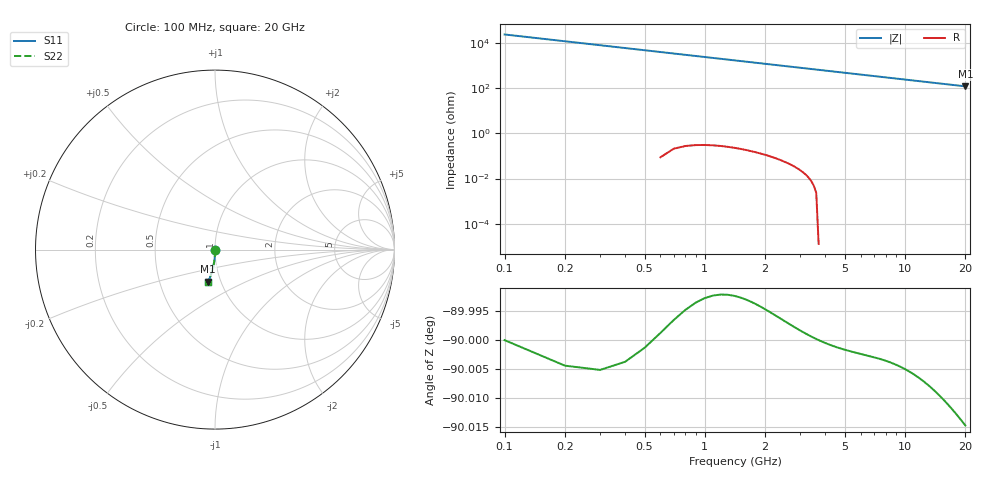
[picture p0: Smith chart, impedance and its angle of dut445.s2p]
! Touchstone file exported from HFSS 2026.1.0
!  File:  C:/ffzhzh/LocalFiles/Ansys_Project_Files/temp_train_TSV_445_1783021584_53980.aedt
!  Generated:  03:47:50 AM Jul  3, 2026
!  Design:  TSV
!  Project:  temp_train_TSV_445_1783021584_53980
! Variables:
!  h_bsmrdl = 2um
!  h_ox = 20um
!  h_rdl = 5um
!  h_sub = 73.95um
!  h_tmrdl = 5um
!  h_tsv = 73.95um
!  h_via = 3um
!  l_bsmrdl = 300um
!  l_sub = 425.78um
!  l_tmrdl = 200um
!  m_sub = 200um
!  pitch = 27.5um
!  r_tsv = 12.89um
!  s_tmrdl = 10um
!  w_bsmrdl = 18um
!  w_sub = 500um
!  w_tmrdl = 12um
!  x_tsv_center1 = 206um
!  x_tsv_center2 = 524um
!  x_tsv_center3 = 736um
!  x_tsv_center4 = 1054um
!  x_tsv_center5 = 1266um
!  x_tsv_center6 = 1584um
# GHz S MA R 50.000000
! Terminal data exported
! Port[1] = TSV1_1_T1
! Port[2] = TSV1_1_T2
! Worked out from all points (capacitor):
!   200 points, 100 MHz to 20 GHz, reference 50 ohm
!   read as one part in shunt: C = 65.2 fF near 200 MHz
!   lowest |Z| = 122 ohm at 20 GHz (marker M1)
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0.1  0.0008687 -83.1  0.9999 -0.1  0.9999 -0.1  0.0008687 -83.1
! Gamma 0 0 0 0
! Port Impedance 50 0 50 0
0.2  0.001737 -85.8  0.9999 -0.1  0.9999 -0.1  0.001737 -85.8
0.3  0.002619 -86.6  0.9998 -0.2  0.9998 -0.2  0.002619 -86.6
0.4  0.003515 -86.9  0.9998 -0.3  0.9998 -0.3  0.003515 -86.9
0.5  0.004422 -87.1  0.9997 -0.3  0.9997 -0.3  0.004422 -87.1
0.7  0.006258 -87.6  0.9997 -0.5  0.9997 -0.5  0.006258 -87.6
0.8  0.007182 -87.8  0.9996 -0.5  0.9996 -0.5  0.007182 -87.8
1  0.009036 -88.2  0.9996 -0.7  0.9996 -0.7  0.009036 -88.2
1.2  0.01089 -88.5  0.9995 -0.8  0.9995 -0.8  0.01089 -88.5
1.4  0.01275 -88.9  0.9995 -0.9  0.9995 -0.9  0.01275 -88.9
1.7  0.01553 -89.3  0.9994 -1.1  0.9994 -1.1  0.01553 -89.3
2  0.01832 -89.6  0.9993 -1.3  0.9993 -1.3  0.01832 -89.6
2.7  0.02481 -90.3  0.9991 -1.7  0.9991 -1.7  0.02481 -90.3
3.5  0.03223 -91.0  0.9988 -2.3  0.9988 -2.3  0.03223 -91.0
4.2  0.03873 -91.6  0.9985 -2.7  0.9985 -2.7  0.03873 -91.6
5  0.04616 -92.2  0.9981 -3.2  0.9981 -3.2  0.04616 -92.2
6.8  0.06287 -93.4  0.997 -4.4  0.997 -4.4  0.06287 -93.4
8.3  0.07678 -94.5  0.9959 -5.3  0.9959 -5.3  0.07678 -94.5
10.1  0.09341 -95.7  0.9943 -6.4  0.9943 -6.4  0.09341 -95.7
13.4  0.1237 -97.8  0.9908 -8.5  0.9908 -8.5  0.1237 -97.8
16.7  0.1536 -100.0  0.9864 -10.6  0.9864 -10.6  0.1536 -100.0
20  0.183 -102.0  0.9812 -12.6  0.9812 -12.6  0.183 -102.0
